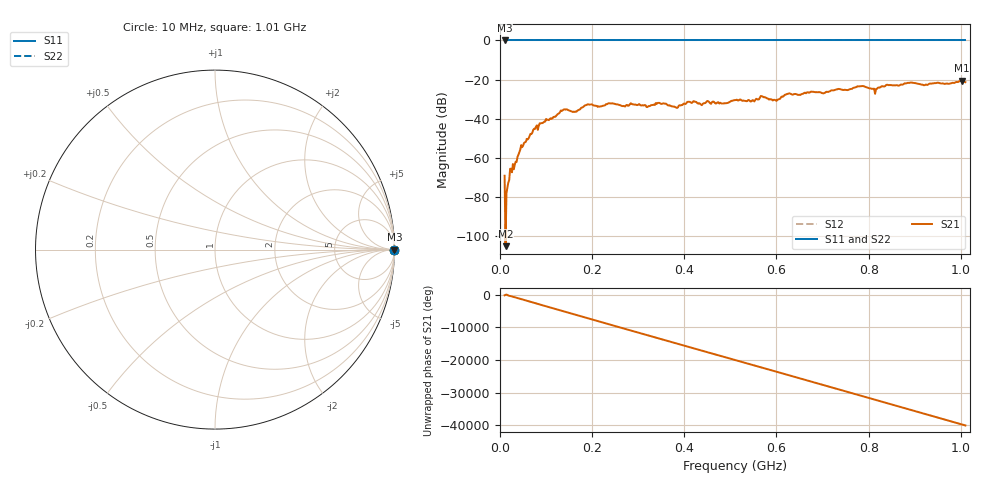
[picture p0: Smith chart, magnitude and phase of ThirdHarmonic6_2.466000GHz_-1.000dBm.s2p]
! 8/17/2025 4:30:25 AM
! C:\ANRITSUVNA\TEMP\TEMP.S2P
! CHANNEL.1
! TR.MEASUREMENT
! RAW.DATA
! RF.CORRECTION.OFF
! AVERAGING.OFF
! IF.BANDWIDTH: 5KHZ
! SWEEPTYPE:  FREQ.SWEEP(Linear)
! Reference Plane Port Info
! PORT:  PORT1  PORT2
! DISTANCE:  0  m  0  m
! TIME:  0  s  0  s
! PHASE.OFFSET:  0  deg.  0  deg.
! LOSS:  0  dB  0  dB
! REF.LOSS:  0  dB  0  dB
! REF.FREQ:  0  Hz  0  Hz
! Power Info
! POWER:  -20  dBm  -20  dBm
! EFF.POWER:  -20  dBm  -20  dBm
! SOURCE.ATTEN:  0  dB  0  dB
! TEST.ATTEN:  0  dB  0  dB
# GHZ S RI R 50.0
! FREQ.GHZ  S11RE  S11IM  S21RE  S21IM  S12RE  S12IM  S22RE  S22IM
!; PortSelection: Port_12
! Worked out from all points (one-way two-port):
!   501 points, 10 MHz to 1.01 GHz, reference 50 ohm
!   highest |S21| = -20.61 dB at 1.002 GHz (marker M1); lowest = -105.3 dB at 12 MHz (marker M2)
!   lowest |S11| = 0.0 dB at 10 MHz (marker M3)
!   |S11| at or under -10 dB: nowhere
!   |S22| runs from 0.0 to 0.0 dB; largest |S21 - S12| = 1.1
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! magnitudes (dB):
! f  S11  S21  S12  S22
! 10 MHz  0.0  -69.2  0.0  0.0
! 12 MHz  0.0  -105.3  0.0  0.0
! 16 MHz  0.0  -75.3  0.0  0.0
! 24 MHz  0.0  -65.7  0.0  0.0
! 48 MHz  0.0  -54.6  0.0  0.0
! 76 MHz  0.0  -45.3  0.0  0.0
! 136 MHz  0.0  -35.8  0.0  0.0
! 162 MHz  0.0  -36.6  0.0  0.0
! 178 MHz  0.0  -34.3  0.0  0.0
! 344 MHz  0.0  -31.9  0.0  0.0
! 382 MHz  0.0  -34.3  0.0  0.0
! 410 MHz  0.0  -31.4  0.0  0.0
! 510 MHz  0.0  -30.5  0.0  0.0
! 570 MHz  0.0  -28.7  0.0  0.0
! 596 MHz  0.0  -30.4  0.0  0.0
! 624 MHz  0.0  -27.4  0.0  0.0
! 678 MHz  0.0  -26.3  0.0  0.0
! 784 MHz  0.0  -23.4  0.0  0.0
! 814 MHz  0.0  -27.3  0.0  0.0
! 844 MHz  0.0  -22.9  0.0  0.0
! 1.002 GHz  0.0  -20.6  0.0  0.0
! 1.01 GHz  0.0  -21.3  0.0  0.0
